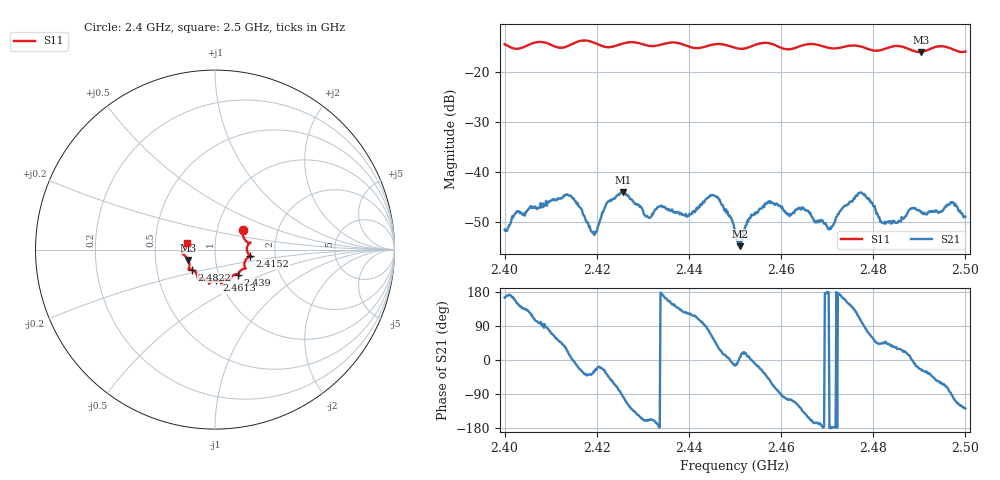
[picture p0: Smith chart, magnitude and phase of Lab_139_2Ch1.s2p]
# Hz S RI R 50
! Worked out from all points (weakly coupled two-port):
!   601 points, 2.4 GHz to 2.5 GHz, reference 50 ohm
!   highest |S21| = -44.03 dB at 2.4257 GHz (marker M1); lowest = -54.9 dB at 2.4512 GHz (marker M2)
!   lowest |S11| = -15.9 dB at 2.4903 GHz (marker M3), VSWR 1.38, Z = 36.8 - j4.4 ohm
!   |S11| at or under -10 dB: start of sweep to end of sweep
!   S12 and S22 are empty: the file has one direction only
!   S11 on the Smith chart (normalised r, x): 2.4 GHz: 1.33, +0.31; 2.4152 GHz: 1.48, -0.11; 2.439 GHz: 1.24, -0.36; 2.4613 GHz: 0.96, -0.34; 2.4822 GHz: 0.75, -0.17; 2.5 GHz: 0.73, +0.05
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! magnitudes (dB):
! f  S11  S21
! 2.4 GHz  -14.3  -51.5
! 2.4027 GHz  -15.3  -47.8
! 2.4152 GHz  -14.1  -45.7
! 2.4167 GHz  -13.6  -47.4
! 2.4195 GHz  -14.0  -52.6
! 2.4257 GHz  -14.2  -44.0
! 2.431 GHz  -14.6  -48.8
! 2.4333 GHz  -14.5  -47.0
! 2.439 GHz  -14.5  -48.7
! 2.4457 GHz  -14.3  -44.8
! 2.45 GHz  -15.0  -51.8
! 2.4512 GHz  -15.2  -54.9
! 2.457 GHz  -14.1  -46.1
! 2.4613 GHz  -15.3  -48.3
! 2.4667 GHz  -14.3  -49.0
! 2.4707 GHz  -15.1  -51.1
! 2.4773 GHz  -14.8  -44.1
! 2.4822 GHz  -15.4  -50.2
! 2.4833 GHz  -15.0  -50.1
! 2.4903 GHz  -15.9  -47.8
! 2.497 GHz  -15.2  -46.2
! 2.5 GHz  -15.8  -48.9
